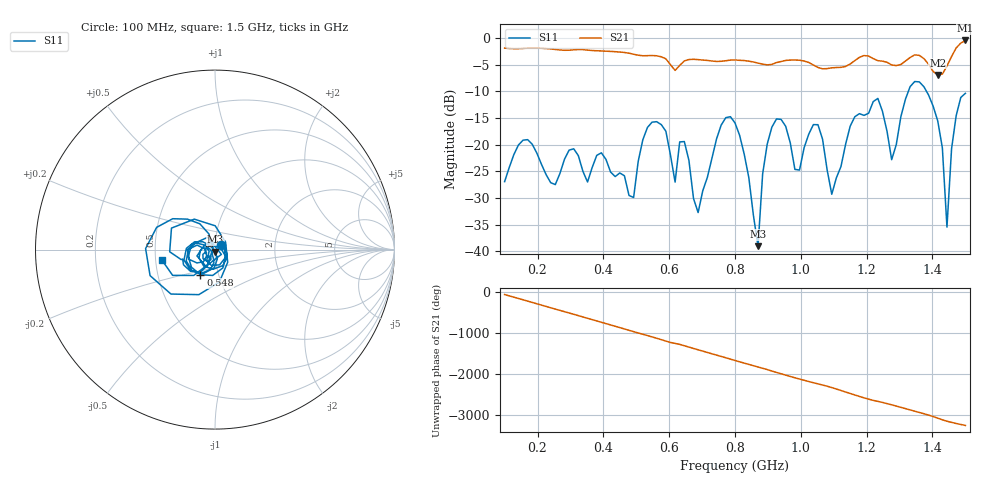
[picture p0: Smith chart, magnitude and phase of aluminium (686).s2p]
! NanoVNA-App
! Date: 2025-09-25 15:00:37
! Start: 100MHz Stop: 1,5GHz Points: 101
! S-Parameter data: F S11 S21 S12 S22
# Hz S RI R 50
!  Frequency  S11_Real  S11_Imag  S21_Real  S21_Imag  S12_Real  S12_Imag  S22_Real  S22_Imag
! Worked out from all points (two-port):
!   101 points, 100 MHz to 1.5 GHz, reference 50 ohm
!   highest |S21| = -0.48 dB at 1.5 GHz (marker M1); lowest = -6.9 dB at 1.416 GHz (marker M2)
!   |S21| within 3 dB of the highest: start of sweep to 571.4 MHz; 1.458 GHz to end of sweep (the widest 2 of 4)
!   lowest |S11| = -39.1 dB at 870 MHz (marker M3), VSWR 1.02, Z = 50.2 - j1.1 ohm
!   |S11| at or under -10 dB: start of sweep to 1.327 GHz; 1.382 GHz to end of sweep
!   S12 and S22 are empty: the file has one direction only
!   S11 on the Smith chart (normalised r, x): 100 MHz: 1.07, +0.06; 548 MHz: 0.82, -0.24; 1.5 GHz: 0.54, -0.07
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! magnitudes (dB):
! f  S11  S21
! 100 MHz  -27.0  -1.9
! 156 MHz  -19.2  -2.0
! 338 MHz  -25.0  -2.2
! 492 MHz  -29.9  -3.1
! 548 MHz  -15.8  -3.3
! 576 MHz  -16.3  -3.5
! 618 MHz  -27.1  -6.1
! 646 MHz  -19.4  -4.3
! 688 MHz  -32.8  -4.1
! 800 MHz  -15.9  -4.1
! 870 MHz  -39.1  -4.7
! 912 MHz  -16.7  -5.0
! 996 MHz  -24.8  -4.2
! 1.038 GHz  -16.3  -5.1
! 1.094 GHz  -29.3  -5.6
! 1.234 GHz  -11.4  -4.3
! 1.276 GHz  -22.8  -5.1
! 1.346 GHz  -8.2  -3.2
! 1.416 GHz  -15.6  -6.9
! 1.444 GHz  -35.5  -5.3
! 1.458 GHz  -20.8  -3.5
! 1.5 GHz  -10.4  -0.5
